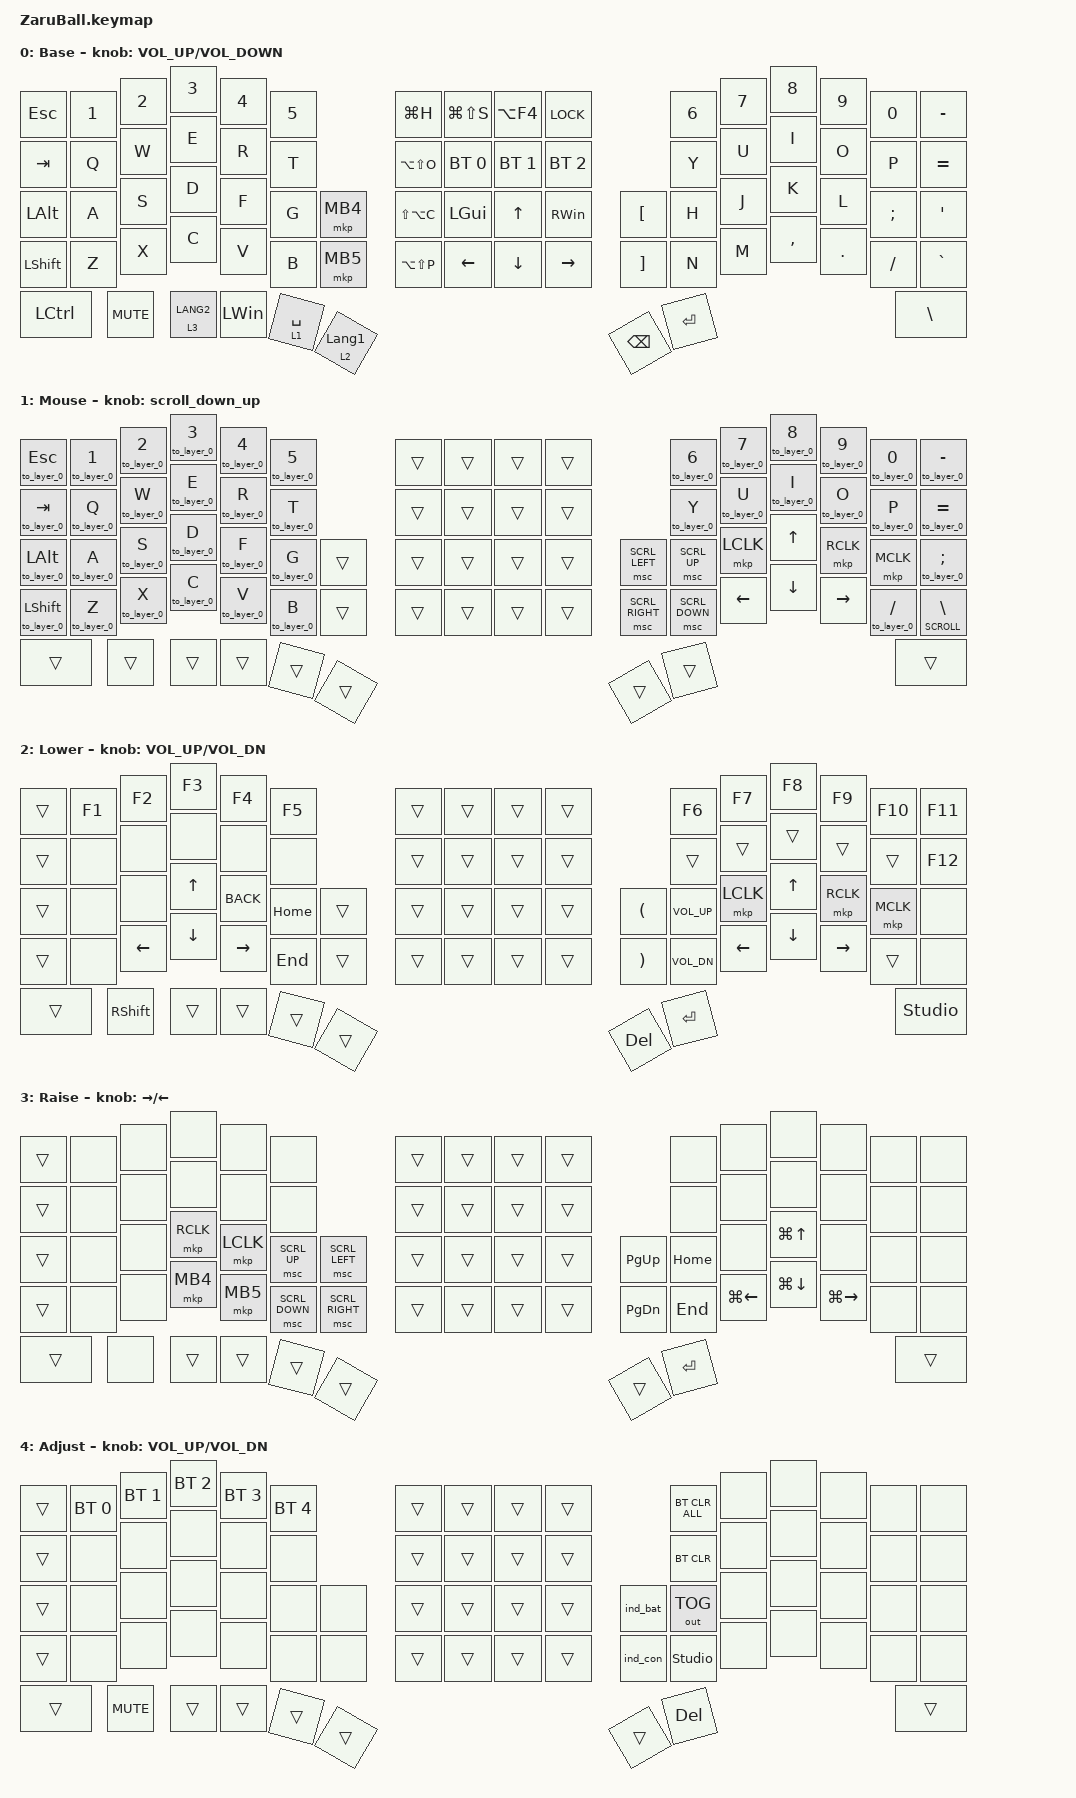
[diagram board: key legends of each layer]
//#include <dt-bindings/zmk/mouse.h>

#include <behaviors/rgbled_widget.dtsi>
#include <behaviors/naginata.dtsi>
#include <behaviors.dtsi>
#include <dt-bindings/zmk/bt.h>
#include <dt-bindings/zmk/keys.h>
#include <dt-bindings/zmk/outputs.h>
#include <dt-bindings/zmk/pointing.h>

#define BASE     0
#define MOUSE    1
#define LOWER    2
#define RAISE    3
#define ADJUST   4
#define SCROLL   2

// スクロール量の設定

#define ZMK_POINTING_DEFAULT_SCRL_VAL 100

/ {
    conditional_layers {
        compatible = "zmk,conditional-layers";

        tri_layer {
            if-layers = <2 3>;
            then-layer = <4>;
        };
    };
};

/ {
    behaviors {
        // スクロール用のbehaviorの設定

        scroll_down_up: behavior_sensor_rotate_mouse_wheel_down_up {
            compatible = "zmk,behavior-sensor-rotate";
            #sensor-binding-cells = <0>;
            bindings = <&msc SCRL_DOWN>, <&msc SCRL_UP>;

            tap-ms = <20>; // スクロールのタップ時間
        };

        td0: tap_dance_0 {
            compatible = "zmk,behavior-tap-dance";
            #binding-cells = <0>;
            tapping-term-ms = <200>;
            bindings = <&mt LALT LANG2>, <&mo RAISE>, <&mo MOUSE>;
        };

        td1: tap_dance_1 {
            compatible = "zmk,behavior-tap-dance";
            #binding-cells = <0>;
            tapping-term-ms = <200>;
            bindings = <&mt RCTL LANG1>, <&mo RAISE>, <&mo MOUSE>;
        };

        // Customed Hold-Tap for SandS

        SandS: SandS {
            compatible = "zmk,behavior-hold-tap";
            #binding-cells = <2>;
            flavor = "tap-unless-interrupted";
            tapping-term-ms = <500>;
            quick-tap-ms = <500>;
            bindings = <&kp>, <&kp>;

            display-name = "SandS";
        };
    };
};

&sl { release-after-ms = <250>; }; // time needed for double click (for mkp_exit_AML)
/ {
    macros {
        // When in AML, move to default layer when key (except mouse button) pressed

        to_layer_0: to_layer_0 {
            compatible = "zmk,behavior-macro-one-param";
            #binding-cells = <1>;
            bindings = <&tog MOUSE &macro_param_1to1 &kp MACRO_PLACEHOLDER>;
            label = "TO_layer_0";
        };

        // When LCLK pressed, exit AML (after 250ms cause by sticky layer

        mkp_exit_AML: mkp_exit_AML {
            compatible = "zmk,behavior-macro-one-param";
            #binding-cells = <1>;
            bindings =
                <&macro_press>,
                <&macro_param_1to1 &mkp MACRO_PLACEHOLDER>,
                <&macro_pause_for_release>,
                <&macro_release>,
                <&macro_param_1to1 &mkp MACRO_PLACEHOLDER>,
                <&macro_tap>,
                <&sl MOUSE>;

            label = "MKP_EXIT_AML";
        };
    };
};

/ {
    keymap {
        compatible = "zmk,keymap";

        base_layer {
            display-name = "Base";
            sensor-bindings = <&inc_dec_kp K_VOLUME_UP K_VOLUME_DOWN>;
            bindings = <
&kp ESC           &kp N1      &kp N2  &kp N3       &kp N4        &kp N5                           &kp LG(H)      &kp LG(LS(S))   &kp LA(F4)      &kp K_LOCK                      &kp NUMBER_6  &kp N7  &kp N8     &kp N9   &kp N0    &kp MINUS
&kp TAB           &kp Q       &kp W   &kp E        &kp R         &kp T                            &kp LA(LS(O))  &bt BT_SEL 0    &bt BT_SEL 1    &bt BT_SEL 2                    &kp Y         &kp U   &kp I      &kp O    &kp P     &kp EQUAL
&kp LEFT_ALT      &kp A       &kp S   &kp D        &kp F         &kp G        &mkp MB4            &kp LS(LA(C))  &kp LEFT_GUI    &kp UP_ARROW    &kp RIGHT_WIN    &kp LBKT       &kp H         &kp J   &kp K      &kp L    &kp SEMI  &kp SQT
&kp LSHFT         &kp Z       &kp X   &kp C        &kp V         &kp B        &mkp MB5            &kp LA(LS(P))  &kp LEFT_ARROW  &kp DOWN_ARROW  &kp RIGHT        &kp RBKT       &kp N         &kp M   &kp COMMA  &kp DOT  &kp FSLH  &kp GRAVE
&kp LEFT_CONTROL  &kp C_MUTE          &lt 3 LANG2  &kp LEFT_WIN  &lt 1 SPACE  &lt 2 LANGUAGE_1                                                                    &kp BACKSPACE  &kp RET                                             &kp BSLH
            >;
        };

        mouse_layer {
            display-name = "Mouse";
            sensor-bindings = <&scroll_down_up>;
            bindings = <
&to_layer_0 ESC         &to_layer_0 N1  &to_layer_0 N2  &to_layer_0 N3  &to_layer_0 N4  &to_layer_0 N5            &trans  &trans  &trans  &trans                     &to_layer_0 N6  &to_layer_0 N7  &to_layer_0 N8  &to_layer_0 N9  &to_layer_0 N0     &to_layer_0 MINUS
&to_layer_0 TAB         &to_layer_0 Q   &to_layer_0 W   &to_layer_0 E   &to_layer_0 R   &to_layer_0 T             &trans  &trans  &trans  &trans                     &to_layer_0 Y   &to_layer_0 U   &to_layer_0 I   &to_layer_0 O   &to_layer_0 P      &to_layer_0 EQUAL
&to_layer_0 LEFT_ALT    &to_layer_0 A   &to_layer_0 S   &to_layer_0 D   &to_layer_0 F   &to_layer_0 G   &trans    &trans  &trans  &trans  &trans    &msc SCRL_LEFT   &msc SCRL_UP    &mkp LCLK       &kp UP          &mkp RCLK       &mkp MCLK          &to_layer_0 SEMICOLON
&to_layer_0 LEFT_SHIFT  &to_layer_0 Z   &to_layer_0 X   &to_layer_0 C   &to_layer_0 V   &to_layer_0 B   &trans    &trans  &trans  &trans  &trans    &msc SCRL_RIGHT  &msc SCRL_DOWN  &kp LEFT        &kp DOWN        &kp RIGHT       &to_layer_0 SLASH  &lt SCROLL BACKSLASH
&trans                  &trans                          &trans          &trans          &trans          &trans                                      &trans           &trans                                                                             &trans
            >;
        };

        lower_layer {
            display-name = "Lower";
            sensor-bindings = <&inc_dec_kp C_VOL_UP C_VOL_DN>;
            bindings = <
&trans  &kp F1     &kp F2    &kp F3    &kp F4      &kp F5              &trans  &trans  &trans  &trans                &kp F6        &kp F7          &kp F8          &kp F9           &kp F10    &kp F11
&trans  &none      &none     &none     &none       &none               &trans  &trans  &trans  &trans                &trans        &trans          &trans          &trans           &trans     &kp F12
&trans  &none      &none     &kp UP    &kp K_BACK  &kp HOME  &trans    &trans  &trans  &trans  &trans    &kp LPAR    &kp C_VOL_UP  &mkp LCLK       &kp UP_ARROW    &mkp RCLK        &mkp MCLK  &none
&trans  &none      &kp LEFT  &kp DOWN  &kp RIGHT   &kp END   &trans    &trans  &trans  &trans  &trans    &kp RPAR    &kp C_VOL_DN  &kp LEFT_ARROW  &kp DOWN_ARROW  &kp RIGHT_ARROW  &trans     &none
&trans  &kp RSHFT            &trans    &trans      &trans    &trans                                      &kp DELETE  &kp RET                                                                   &studio_unlock
            >;
        };

        raise_layer {
            display-name = "Raise";
            sensor-bindings = <&inc_dec_kp RIGHT LEFT>;
            bindings = <
&trans  &none  &none  &none      &none      &none                              &trans  &trans  &trans  &trans               &none     &none         &none         &none          &none  &none
&trans  &none  &none  &none      &none      &none                              &trans  &trans  &trans  &trans               &none     &none         &none         &none          &none  &none
&trans  &none  &none  &mkp RCLK  &mkp LCLK  &msc SCRL_UP    &msc SCRL_LEFT     &trans  &trans  &trans  &trans    &kp PG_UP  &kp HOME  &none         &kp LG(UP)    &none          &none  &none
&trans  &none  &none  &mkp MB4   &mkp MB5   &msc SCRL_DOWN  &msc SCRL_RIGHT    &trans  &trans  &trans  &trans    &kp PG_DN  &kp END   &kp LG(LEFT)  &kp LG(DOWN)  &kp LG(RIGHT)  &none  &none
&trans  &none         &trans     &trans     &trans          &trans                                               &trans     &kp RET                                                     &trans
            >;
        };

        adjust_layer {
            display-name = "Adjust";
            sensor-bindings = <&inc_dec_kp C_VOL_UP C_VOL_DN>;
            bindings = <
&trans  &bt BT_SEL 0  &bt BT_SEL 1  &bt BT_SEL 2  &bt BT_SEL 3  &bt BT_SEL 4            &trans  &trans  &trans  &trans              &bt BT_CLR_ALL  &none  &none  &none  &none  &none
&trans  &none         &none         &none         &none         &none                   &trans  &trans  &trans  &trans              &bt BT_CLR      &none  &none  &none  &none  &none
&trans  &none         &none         &none         &none         &none         &none     &trans  &trans  &trans  &trans    &ind_bat  &out OUT_TOG    &none  &none  &none  &none  &none
&trans  &none         &none         &none         &none         &none         &none     &trans  &trans  &trans  &trans    &ind_con  &studio_unlock  &none  &none  &none  &none  &none
&trans  &kp C_MUTE                  &trans        &trans        &trans        &trans                                      &trans    &kp DEL                                     &trans
            >;
        };

        // Extra layer can be added in ZMK STUDIO

        extra1 { status = "reserved"; };

        extra2 { status = "reserved"; };
    };
};
